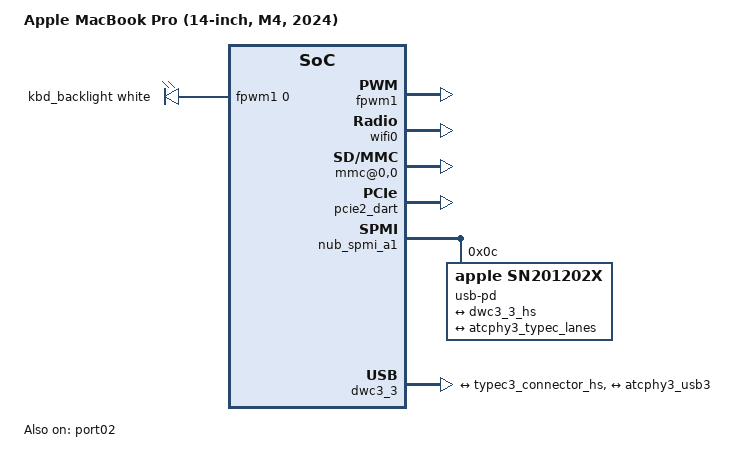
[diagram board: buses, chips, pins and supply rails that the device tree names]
// SPDX-License-Identifier: GPL-2.0+ OR MIT
/*
 * Apple MacBook Pro (14-inch, M4, 2024)
 *
 * target-type: J604
 *
 * Copyright The Asahi Linux Contributors
 */

/dts-v1/;

#include "t8132.dtsi"
#include "t8132-jxxx.dtsi"
#include <dt-bindings/leds/common.h>

/ {
	model = "Apple MacBook Pro (14-inch, M4, 2024)";
	compatible = "apple,j604", "apple,t8132", "apple,arm-platform";

	aliases {
		atcphy3 = &atcphy3;
	};

	led-controller {
		compatible = "pwm-leds";

		led-0 {
			pwms = <&fpwm1 0 40000>;
			label = "kbd_backlight";
			function = LED_FUNCTION_KBD_BACKLIGHT;
			color = <LED_COLOR_ID_WHITE>;
			max-brightness = <255>;
			default-state = "keep";
		};
	};
};

&fpwm1 {
	status = "okay";
};

/* PCIe Devices */

&wifi0 {
	brcm,board-type = "apple,guam";
};

&bluetooth0 {
	brcm,board-type = "apple,guam";
};

&port02 {
	bus-range = <2 2>;

	status = "okay";

	mmc@0,0 {
		compatible = "pci17a0,9755";
		reg = <0x20000 0x0 0x0 0x0 0x0>;
		cd-inverted;
		wp-inverted;
	};
};

&pcie2_dart {
	status = "okay";
};

&pcie0 {
	iommu-map = <0x100 &pcie0_dart 1 1>,
	            <0x200 &pcie2_dart 1 1>;
};

/*
 * Add the additional USB type C port
 */

&nub_spmi_a1 {
	usb-pd@c {
		compatible = "apple,sn201202x";
		reg = <0xc SPMI_USID>;
		interrupts = <11 IRQ_TYPE_EDGE_RISING>,
		             <13 IRQ_TYPE_EDGE_RISING>,
		             <17 IRQ_TYPE_EDGE_RISING>,
		             <19 IRQ_TYPE_EDGE_RISING>;
		interrupt-names = "irq", "select", "sleep", "wake";

		connector {
			compatible = "usb-c-connector";
			label = "USB-C Right";
			power-role = "dual";
			data-role = "dual";

			ports {
				#address-cells = <1>;
				#size-cells = <0>;

				port@0 {
					reg = <0>;

					typec3_connector_hs: endpoint {
						remote-endpoint = <&dwc3_3_hs>;
					};
				};

				port@1 {
					reg = <1>;

					typec3_connector_ss: endpoint {
						remote-endpoint =
							<&atcphy3_typec_lanes>;
					};
				};
			};
		};
	};
};

&dwc3_3 {
	ports {
		#address-cells = <1>;
		#size-cells = <0>;

		port@0 {
			reg = <0>;

			dwc3_3_hs: endpoint {
				remote-endpoint = <&typec3_connector_hs>;
			};
		};

		port@1 {
			reg = <1>;

			dwc3_3_ss: endpoint {
				remote-endpoint = <&atcphy3_usb3>;
			};
		};
	};
};

&atcphy3 {
	ports {
		#address-cells = <1>;
		#size-cells = <0>;

		port@0 {
			reg = <0>;

			atcphy3_typec_lanes: endpoint {
				remote-endpoint = <&typec3_connector_ss>;
			};
		};

		port@1 {
			reg = <1>;

			atcphy3_usb3: endpoint {
				remote-endpoint = <&dwc3_3_ss>;
			};
		};
	};
};

/delete-node/ &atcphy2;
/delete-node/ &dwc3_2;
